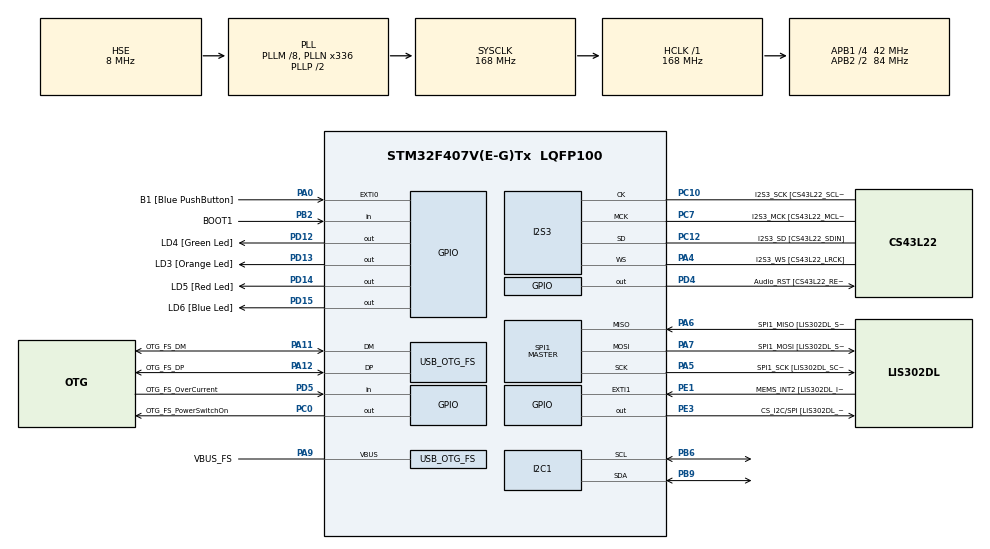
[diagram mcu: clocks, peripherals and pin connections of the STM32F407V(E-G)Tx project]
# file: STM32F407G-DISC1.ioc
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I2S3.AudioFreq-Half_Duplex_Master=I2S_AUDIOFREQ_96K
I2S3.ErrorAudioFreq=-2.34 %
I2S3.ErrorAudioFreq-Half_Duplex_Master=0.8 %
I2S3.FullDuplexMode=I2S_FULLDUPLEXMODE_DISABLE
I2S3.Instance=SPI$Index
I2S3.RealAudioFreq=93.75 KHz
I2S3.RealAudioFreq-Half_Duplex_Master=96.774 KHz
I2S3.VirtualMode=I2S_MODE_MASTER
Mcu.Family=STM32F4
Mcu.Name=STM32F407V(E-G)Tx
Mcu.Package=LQFP100
NVIC.OTG_FS_IRQn=true\:0\:0\:false\:false\:true\:true\:true\:true
NVIC.PriorityGroup=NVIC_PRIORITYGROUP_0
PA0-WKUP.GPIO_Label=B1 [Blue PushButton]
PA0-WKUP.GPIO_ModeDefaultEXTI=GPIO_MODE_EVT_RISING
PA0-WKUP.GPIO_PuPd=GPIO_NOPULL
PA0-WKUP.Signal=GPXTI0
PA10.GPIO_Label=OTG_FS_ID
PA10.GPIO_Mode=GPIO_MODE_AF_PP
PA10.GPIO_PuPd=GPIO_NOPULL
PA10.GPIO_Speed=GPIO_SPEED_FREQ_LOW
PA10.Signal=USB_OTG_FS_ID
PA11.GPIO_Label=OTG_FS_DM
PA11.GPIO_Mode=GPIO_MODE_AF_PP
PA11.GPIO_PuPd=GPIO_NOPULL
PA11.GPIO_Speed=GPIO_SPEED_FREQ_LOW
PA11.Mode=Host_Only
PA11.Signal=USB_OTG_FS_DM
PA12.GPIO_Label=OTG_FS_DP
PA12.GPIO_Mode=GPIO_MODE_AF_PP
PA12.GPIO_PuPd=GPIO_NOPULL
PA12.GPIO_Speed=GPIO_SPEED_FREQ_LOW
PA12.Mode=Host_Only
PA12.Signal=USB_OTG_FS_DP
PA13.GPIO_Label=SWDIO
PA13.Mode=Serial_Wire
PA13.Signal=SYS_JTMS-SWDIO
PA14.GPIO_Label=SWCLK
PA14.Mode=Serial_Wire
PA14.Signal=SYS_JTCK-SWCLK
PA4.GPIO_Label=I2S3_WS [CS43L22_LRCK]
PA4.GPIO_Mode=GPIO_MODE_AF_PP
PA4.GPIO_PuPd=GPIO_NOPULL
PA4.GPIO_Speed=GPIO_SPEED_FREQ_LOW
PA4.Mode=Half_Duplex_Master
PA4.Signal=I2S3_WS
PA5.GPIO_Label=SPI1_SCK [LIS302DL_SCL/SPC]
PA5.GPIO_Mode=GPIO_MODE_AF_PP
PA5.GPIO_PuPd=GPIO_NOPULL
PA5.GPIO_Speed=GPIO_SPEED_FREQ_LOW
PA5.Mode=Full_Duplex_Master
PA5.Signal=SPI1_SCK
PA6.GPIO_Label=SPI1_MISO [LIS302DL_SDO]
PA6.GPIO_Mode=GPIO_MODE_AF_PP
PA6.GPIO_PuPd=GPIO_NOPULL
PA6.GPIO_Speed=GPIO_SPEED_FREQ_LOW
PA6.Mode=Full_Duplex_Master
PA6.Signal=SPI1_MISO
PA7.GPIO_Label=SPI1_MOSI [LIS302DL_SDA/SDI/SDO]
PA7.GPIO_Mode=GPIO_MODE_AF_PP
PA7.GPIO_PuPd=GPIO_NOPULL
PA7.GPIO_Speed=GPIO_SPEED_FREQ_LOW
PA7.Mode=Full_Duplex_Master
PA7.Signal=SPI1_MOSI
PA9.GPIO_Label=VBUS_FS
PA9.GPIO_Mode=GPIO_MODE_INPUT
PA9.GPIO_PuPd=GPIO_NOPULL
PA9.Mode=Activate_VBUS
PA9.Signal=USB_OTG_FS_VBUS
PB10.GPIO_Label=CLK_IN [MP45DT02_CLK]
PB10.GPIO_Mode=GPIO_MODE_AF_PP
PB10.GPIO_PuPd=GPIO_NOPULL
PB10.GPIO_Speed=GPIO_SPEED_FREQ_LOW
PB10.Signal=I2S2_CK
PB2.GPIO_Label=BOOT1
PB2.GPIO_Mode=GPIO_MODE_INPUT
PB2.GPIO_PuPd=GPIO_NOPULL
PB2.Signal=GPIO_Input
PB3.GPIO_Label=SWO
PB3.Signal=SYS_JTDO-SWO
PB6.GPIO_Mode=GPIO_MODE_AF_OD
PB6.GPIO_Pu=GPIO_NOPULL
PB6.GPIO_PuPd=GPIO_NOPULL
PB6.GPIO_Speed=GPIO_SPEED_FREQ_VERY_HIGH
PB6.Mode=I2C
PB6.Signal=I2C1_SCL
PB9.GPIO_Mode=GPIO_MODE_AF_OD
PB9.GPIO_Pu=GPIO_NOPULL
PB9.GPIO_PuPd=GPIO_NOPULL
PB9.GPIO_Speed=GPIO_SPEED_FREQ_VERY_HIGH
PB9.Mode=I2C
PB9.Signal=I2C1_SDA
PC0.GPIO_Label=OTG_FS_PowerSwitchOn
PC0.GPIO_PuPd=GPIO_NOPULL
PC0.GPIO_Speed=GPIO_SPEED_FREQ_LOW
PC0.PinState=GPIO_PIN_SET
PC0.Signal=GPIO_Output
PC10.GPIO_Label=I2S3_SCK [CS43L22_SCLK]
PC10.GPIO_Mode=GPIO_MODE_AF_PP
PC10.GPIO_PuPd=GPIO_NOPULL
PC10.GPIO_Speed=GPIO_SPEED_FREQ_LOW
PC10.Mode=Half_Duplex_Master
PC10.Signal=I2S3_CK
PC12.GPIO_Label=I2S3_SD [CS43L22_SDIN]
PC12.GPIO_Mode=GPIO_MODE_AF_PP
PC12.GPIO_PuPd=GPIO_NOPULL
PC12.GPIO_Speed=GPIO_SPEED_FREQ_LOW
PC12.Mode=Half_Duplex_Master
PC12.Signal=I2S3_SD
PC14-OSC32_IN.GPIO_Label=PC14-OSC32_IN
PC14-OSC32_IN.Mode=LSE-External-Oscillator
PC14-OSC32_IN.Signal=RCC_OSC32_IN
PC15-OSC32_OUT.GPIO_Label=PC15-OSC32_OUT
PC15-OSC32_OUT.Mode=LSE-External-Oscillator
PC15-OSC32_OUT.Signal=RCC_OSC32_OUT
PC3.GPIO_Label=PDM_OUT [MP45DT02_DOUT]
PC3.GPIO_Mode=GPIO_MODE_AF_PP
PC3.GPIO_PuPd=GPIO_NOPULL
PC3.GPIO_Speed=GPIO_SPEED_FREQ_LOW
PC3.Signal=I2S2_SD
PC7.GPIO_Label=I2S3_MCK [CS43L22_MCLK]
PC7.GPIO_Mode=GPIO_MODE_AF_PP
PC7.GPIO_PuPd=GPIO_NOPULL
PC7.GPIO_Speed=GPIO_SPEED_FREQ_LOW
PC7.Mode=Master_Clock_Activated
PC7.Signal=I2S3_MCK
PD12.GPIO_Label=LD4 [Green Led]
PD12.GPIO_PuPd=GPIO_NOPULL
PD12.GPIO_Speed=GPIO_SPEED_FREQ_LOW
PD12.Signal=GPIO_Output
PD13.GPIO_Label=LD3 [Orange Led]
PD13.GPIO_PuPd=GPIO_NOPULL
PD13.GPIO_Speed=GPIO_SPEED_FREQ_LOW
PD13.Signal=GPIO_Output
PD14.GPIO_Label=LD5 [Red Led]
PD14.GPIO_PuPd=GPIO_NOPULL
PD14.GPIO_Speed=GPIO_SPEED_FREQ_LOW
PD14.Signal=GPIO_Output
PD15.GPIO_Label=LD6 [Blue Led]
PD15.GPIO_PuPd=GPIO_NOPULL
PD15.GPIO_Speed=GPIO_SPEED_FREQ_LOW
PD15.Signal=GPIO_Output
PD4.GPIO_Label=Audio_RST [CS43L22_RESET]
PD4.GPIO_PuPd=GPIO_NOPULL
PD4.GPIO_Speed=GPIO_SPEED_FREQ_LOW
PD4.Signal=GPIO_Output
PD5.GPIO_Label=OTG_FS_OverCurrent
PD5.GPIO_Mode=GPIO_MODE_INPUT
PD5.GPIO_PuPd=GPIO_NOPULL
PD5.Signal=GPIO_Input
PE1.GPIO_Label=MEMS_INT2 [LIS302DL_INT2]
PE1.GPIO_ModeDefaultEXTI=GPIO_MODE_EVT_RISING
PE1.GPIO_PuPd=GPIO_NOPULL
PE1.Signal=GPXTI1
PE3.GPIO_Label=CS_I2C/SPI [LIS302DL_CS_I2C/SPI]
PE3.GPIO_PuPd=GPIO_NOPULL
PE3.GPIO_Speed=GPIO_SPEED_FREQ_LOW
PE3.Signal=GPIO_Output
PH0-OSC_IN.GPIO_Label=PH0-OSC_IN
PH0-OSC_IN.Mode=HSE-External-Oscillator
PH0-OSC_IN.Signal=RCC_OSC_IN
PH1-OSC_OUT.GPIO_Label=PH1-OSC_OUT
PH1-OSC_OUT.Mode=HSE-External-Oscillator
PH1-OSC_OUT.Signal=RCC_OSC_OUT
ProjectManager.HeapSize=0x200
ProjectManager.StackSize=0x400
ProjectManager.TargetToolchain=CMake
RCC.48MHZClocksFreq_Value=48000000
RCC.AHBFreq_Value=168000000
RCC.APB1CLKDivider=RCC_HCLK_DIV4
RCC.APB1Freq_Value=42000000
RCC.APB1TimFreq_Value=84000000
RCC.APB2CLKDivider=RCC_HCLK_DIV2
RCC.APB2Freq_Value=84000000
RCC.APB2TimFreq_Value=168000000
RCC.CortexFreq_Value=168000000
RCC.HCLKFreq_Value=168000000
RCC.HSE_VALUE=8000000
RCC.HSI_VALUE=16000000
RCC.PLLM=8
RCC.PLLN=336
RCC.PLLQ=7
RCC.SYSCLKFreq_VALUE=168000000
RCC.SYSCLKSource=RCC_SYSCLKSOURCE_PLLCLK
RCC.VCOOutputFreq_Value=336000000
SPI1.BaudRatePrescaler-Full_Duplex_Master=SPI_BAUDRATEPRESCALER_2
SPI1.CalculateBaudRate-Full_Duplex_Master=42.0 MBits/s
SPI1.Direction=SPI_DIRECTION_2LINES
SPI1.Mode=SPI_MODE_MASTER
SPI1.Mode-Full_Duplex_Master=SPI_MODE_MASTER
SPI1.VirtualType=VM_MASTER
USB_HOST.BSP.number=1
USB_HOST.USBH_HandleTypeDef-CDC_FS=hUsbHostFS
USB_HOST.VirtualModeFS=Cdc
USB_HOST0.BSP.STBoard=false
USB_HOST0.BSP.api=Unknown
USB_HOST0.BSP.instance=PC0
USB_HOST0.BSP.ip=GPIO
USB_HOST0.BSP.mode=Output
USB_HOST0.BSP.name=Drive_VBUS_FS
USB_HOST0.BSP.solution=PC0
USB_OTG_FS.VirtualMode=Host_Only
USB_OTG_FS.phy_itface=HCD_PHY_EMBEDDED
VP_USB_HOST_VS_USB_HOST_CDC_FS.Mode=CDC_FS
board=STM32F407G-DISC1

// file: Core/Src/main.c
/* USER CODE BEGIN Header */
/**
  ******************************************************************************
  * @file           : main.c
  * @brief          : Main program body
  ******************************************************************************
  * @attention
  *
  * Copyright (c) 2025 STMicroelectronics.
  * All rights reserved.
  *
  * This software is licensed under terms that can be found in the LICENSE file
  * in the root directory of this software component.
  * If no LICENSE file comes with this software, it is provided AS-IS.
  *
  ******************************************************************************
  */
/* USER CODE END Header */
#include "main.h"
#include "i2c.h"
#include "i2s.h"
#include "spi.h"
#include "stm32f4xx_hal_i2c.h"
#include "usb_host.h"
#include "gpio.h"

/* USER CODE BEGIN PV */

int16_t Accel_X_RAW = 0;
int16_t Accel_Y_RAW = 0;
int16_t Accel_Z_RAW = 0;
int16_t Gyro_X_RAW = 0;
int16_t Gyro_Y_RAW = 0;
int16_t Gyro_Z_RAW = 0;

float Gx = 0.0f;
float Gy = 0.0f;
float Gz = 0.0f;

/* USER CODE END PV */

void SystemClock_Config(void);
void MX_USB_HOST_Process(void);

/* USER CODE BEGIN 0 */

#define MPU6500_ADDR 0xD0

#define GYRO_CONFIG 0x1B
#define ACCEL_CONFIG 0x1C
#define ACCEL_XOUT_H 0x3B
#define ACCEL_YOUT_H 0x3D
#define ACCEL_ZOUT_H 0x3F
#define TEMP_OUT_H 0x41
#define GYRO_XOUT_H 0x43
#define GYRO_YOUT_H 0x45
#define GYRO_ZOUT_H 0x47
#define PWR_MGMT_1_REG 0x6B
#define WHO_AM_I 0x75

void MPU6500_Init(void)
{
    uint8_t check;
    uint8_t Data;

    // Check WHO_AM_I register
    HAL_I2C_Mem_Read(&hi2c1, MPU6500_ADDR, WHO_AM_I, 1, &check, 1, 1000);
    if (check == 0x68) // 0x68 is the default WHO_AM_I value for MPU6500
    {
        // Wake up the MPU6500 (clear sleep bit)
        Data = 0x00;
        HAL_I2C_Mem_Write(&hi2c1, MPU6500_ADDR, PWR_MGMT_1_REG, 1, &Data, 1, 1000);

        // Optionally, set accelerometer and gyro config here
        // Data = 0x00; // ±2g
        // HAL_I2C_Mem_Write(&hi2c1, MPU6500_ADDR, ACCEL_CONFIG, 1, &Data, 1, 1000);
        // Data = 0x00; // ±250°/s
        // HAL_I2C_Mem_Write(&hi2c1, MPU6500_ADDR, GYRO_CONFIG, 1, &Data, 1, 1000);
    }
}

void MPU6500_Read_Accel(void)
{
    uint8_t Rec_Data[6];
    HAL_I2C_Mem_Read(&hi2c1, MPU6500_ADDR, ACCEL_XOUT_H, 1, Rec_Data, 6, 1000);

    Accel_X_RAW = (int16_t)(Rec_Data[0] << 8 | Rec_Data[1]);
    Accel_Y_RAW = (int16_t)(Rec_Data[2] << 8 | Rec_Data[3]);
    Accel_Z_RAW = (int16_t)(Rec_Data[4] << 8 | Rec_Data[5]);
}
void MPU6500_Read_Gyro(void)
{
    uint8_t Rec_Data[6];
    HAL_I2C_Mem_Read(&hi2c1, MPU6500_ADDR, GYRO_XOUT_H, 1, Rec_Data, 6, 1000);

    Gyro_X_RAW = (int16_t)(Rec_Data[0] << 8 | Rec_Data[1]);
    Gyro_Y_RAW = (int16_t)(Rec_Data[2] << 8 | Rec_Data[3]);
    Gyro_Z_RAW = (int16_t)(Rec_Data[4] << 8 | Rec_Data[5]);

    Gx = Gyro_X_RAW / 131.0;
    Gy = Gyro_Y_RAW / 131.0;
    Gz = Gyro_Z_RAW / 131.0;
}
/* USER CODE END 0 */

int main(void)
{

  /* MCU Configuration--------------------------------------------------------*/

  /* Reset of all peripherals, Initializes the Flash interface and the Systick. */
  HAL_Init();

  /* Configure the system clock */
  SystemClock_Config();

  /* Initialize all configured peripherals */
  MX_GPIO_Init();
  MX_I2C1_Init();
  MX_I2S3_Init();
  MX_SPI1_Init();
  MX_USB_HOST_Init();
  MPU6500_Init();
  /* Infinite loop */
  while (1)
  {
    MX_USB_HOST_Process();

    MPU6500_Read_Accel();
    MPU6500_Read_Gyro();

    HAL_Delay(100); //Read at 10 Hz
  }
}

void SystemClock_Config(void)
{
  RCC_OscInitTypeDef RCC_OscInitStruct = {0};
  RCC_ClkInitTypeDef RCC_ClkInitStruct = {0};

  /** Configure the main internal regulator output voltage
  */
  __HAL_RCC_PWR_CLK_ENABLE();
  __HAL_PWR_VOLTAGESCALING_CONFIG(PWR_REGULATOR_VOLTAGE_SCALE1);

  /** Initializes the RCC Oscillators according to the specified parameters
  * in the RCC_OscInitTypeDef structure.
  */
  RCC_OscInitStruct.OscillatorType = RCC_OSCILLATORTYPE_HSE;
  RCC_OscInitStruct.HSEState = RCC_HSE_ON;
  RCC_OscInitStruct.PLL.PLLState = RCC_PLL_ON;
  RCC_OscInitStruct.PLL.PLLSource = RCC_PLLSOURCE_HSE;
  RCC_OscInitStruct.PLL.PLLM = 8;
  RCC_OscInitStruct.PLL.PLLN = 336;
  RCC_OscInitStruct.PLL.PLLP = RCC_PLLP_DIV2;
  RCC_OscInitStruct.PLL.PLLQ = 7;
  if (HAL_RCC_OscConfig(&RCC_OscInitStruct) != HAL_OK)
  {
    Error_Handler();
  }

  /** Initializes the CPU, AHB and APB buses clocks
  */
  RCC_ClkInitStruct.ClockType = RCC_CLOCKTYPE_HCLK|RCC_CLOCKTYPE_SYSCLK
                              |RCC_CLOCKTYPE_PCLK1|RCC_CLOCKTYPE_PCLK2;
  RCC_ClkInitStruct.SYSCLKSource = RCC_SYSCLKSOURCE_PLLCLK;
  RCC_ClkInitStruct.AHBCLKDivider = RCC_SYSCLK_DIV1;
  RCC_ClkInitStruct.APB1CLKDivider = RCC_HCLK_DIV4;
  RCC_ClkInitStruct.APB2CLKDivider = RCC_HCLK_DIV2;

  if (HAL_RCC_ClockConfig(&RCC_ClkInitStruct, FLASH_LATENCY_5) != HAL_OK)
  {
    Error_Handler();
  }
}

void Error_Handler(void)
{
  __disable_irq();
  while (1)
  {
  }
}
